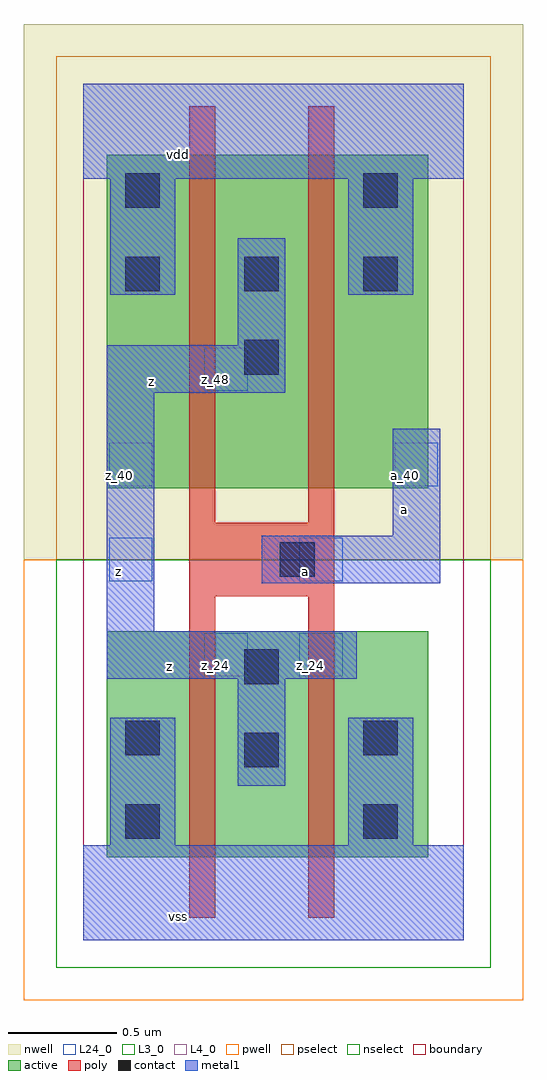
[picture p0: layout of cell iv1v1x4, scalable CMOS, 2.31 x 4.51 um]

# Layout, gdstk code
import gdstk
lib = gdstk.Library(unit=1e-6, precision=2.5e-09)
def R(c, l, rs):  # rectangles x0, y0, x1, y1
    for r in rs: c.add(gdstk.rectangle(r[:2], r[2:], *l))
def A(c, l, x, y, w, h, nx, ny, dx, dy):  # array of equal rectangles
    R(c, l, [(x+i*dx, y+j*dy, x+i*dx+w, y+j*dy+h) for i in range(nx) for j in range(ny)])
L3_0 = (3, 0)
L4_0 = (4, 0)
L24_0 = (24, 0)
contact = (25, 0)
pwell = (41, 0)
nwell = (42, 0)
active = (43, 0)
pselect = (44, 0)
nselect = (45, 0)
poly = (46, 0)
metal1 = (49, 0)
boundary = (63, 0)

iv1v1x4 = lib.new_cell('iv1v1x4')
R(iv1v1x4, L3_0, [(0.11,0.385,1.595,1.43)])
R(iv1v1x4, L4_0, [(0.11,2.09,1.595,3.63)])
R(iv1v1x4, L24_0, [(0.56,1.22,0.76,1.42), (1,1.22,1.2,1.42), (0.12,1.66,0.32,1.86), (1,1.66,1.2,1.86), (0.12,2.1,0.32,2.3), (1.44,2.1,1.64,2.3), (0.56,2.54,0.76,2.74)])
A(iv1v1x4, contact, 0.195, 3, 0.16, 0.16, 3, 1, 0.55, 0)
R(iv1v1x4, contact, [(0.195,0.47,0.355,0.63), (1.295,0.47,1.455,0.63), (0.745,0.8,0.905,0.96), (0.195,0.855,0.355,1.015), (1.295,0.855,1.455,1.015), (0.745,1.185,0.905,1.345), (0.91,1.68,1.07,1.84), (0.745,2.615,0.905,2.775), (0.195,3.385,0.355,3.545), (1.295,3.385,1.455,3.545)])
R(iv1v1x4, pwell, [(-0.275,-0.275,2.035,1.76)])
R(iv1v1x4, nwell, [(-0.275,1.76,2.035,4.235)])
R(iv1v1x4, active, [(0.11,0.385,1.595,1.43), (0.11,2.09,1.595,3.63)])
R(iv1v1x4, pselect, [(-0.125,1.76,1.885,4.085)])
R(iv1v1x4, nselect, [(-0.125,-0.125,1.885,1.76)])
R(iv1v1x4, poly, [(0.49,0.105,0.61,1.59), (1.04,0.105,1.16,1.59), (0.49,1.59,1.16,1.93), (0.49,1.93,0.61,3.855), (1.04,1.93,1.16,3.855)])
R(iv1v1x4, metal1, [(0,0,1.76,0.44), (0.125,0.44,0.425,1.03), (1.225,0.44,1.525,1.03), (0.715,0.715,0.935,1.21), (0.11,1.21,1.265,1.43), (0.11,1.43,0.33,2.53), (0.825,1.65,1.65,1.87), (1.43,1.87,1.65,2.365), (0.11,2.53,0.935,2.75), (0.715,2.75,0.935,3.245), (0.125,2.985,0.425,3.52), (1.225,2.985,1.525,3.52), (0,3.52,1.76,3.96)])
R(iv1v1x4, boundary, [(0,0,1.76,3.96)])
iv1v1x4.add(gdstk.Label('vss', (0.44,0.11), layer=49, texttype=0))
iv1v1x4.add(gdstk.Label('z', (0.3975,1.265), layer=49, texttype=0))
iv1v1x4.add(gdstk.Label('a', (1.03,1.705), layer=49, texttype=0))
iv1v1x4.add(gdstk.Label('a', (1.485,1.9925), layer=49, texttype=0))
iv1v1x4.add(gdstk.Label('z', (0.165,1.705), layer=49, texttype=0))
iv1v1x4.add(gdstk.Label('z', (0.315,2.585), layer=49, texttype=0))
iv1v1x4.add(gdstk.Label('vdd', (0.44,3.63), layer=49, texttype=0))
iv1v1x4.add(gdstk.Label('z_40', (0.17,2.15), layer=24, texttype=0))
iv1v1x4.add(gdstk.Label('z_32', (0.17,1.71), layer=24, texttype=0))
iv1v1x4.add(gdstk.Label('a_40', (1.49,2.15), layer=24, texttype=0))
iv1v1x4.add(gdstk.Label('a_32', (1.05,1.71), layer=24, texttype=0))
iv1v1x4.add(gdstk.Label('z_24', (1.05,1.27), layer=24, texttype=0))
iv1v1x4.add(gdstk.Label('z_48', (0.61,2.59), layer=24, texttype=0))
iv1v1x4.add(gdstk.Label('z_24', (0.61,1.27), layer=24, texttype=0))

lib.write_gds('iv1v1x4.gds')
